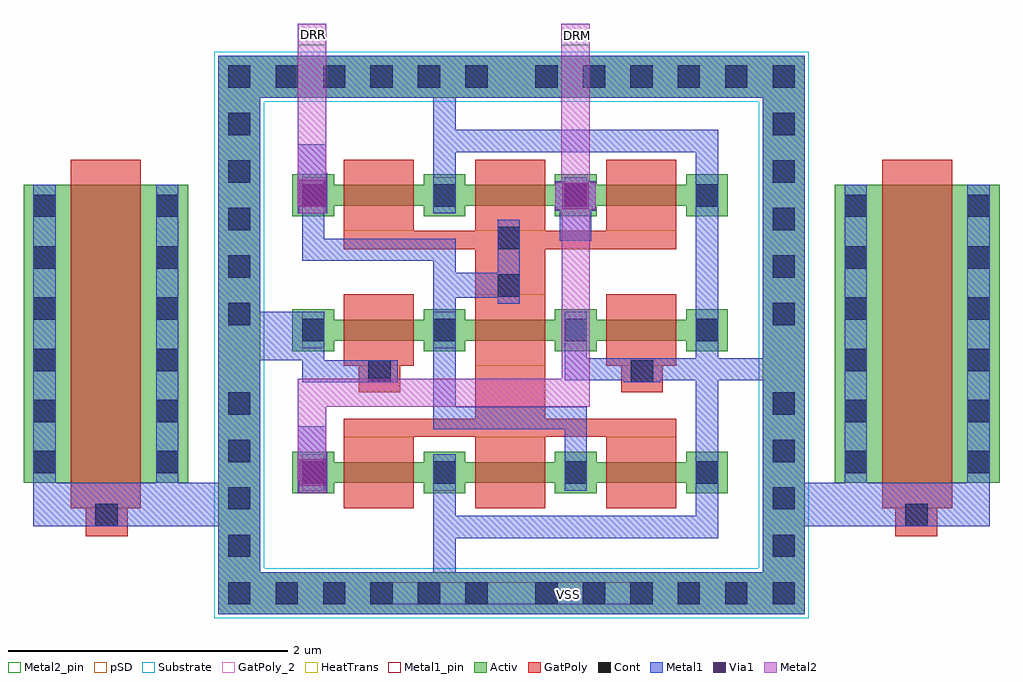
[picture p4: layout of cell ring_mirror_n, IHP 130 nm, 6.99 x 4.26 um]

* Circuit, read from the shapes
.subckt ring_mirror_n DRM DRR VSS
XM1 VSS VSS VSS VSS sg13_lv_nmos w=2.135u l=0.5u m=2
XM2 VSS DRR DRM VSS sg13_lv_nmos w=0.15u l=0.5u m=3
XM3 DRR VSS VSS VSS sg13_lv_nmos w=0.15u l=0.5u
XM4 VSS DRR DRR VSS sg13_lv_nmos w=0.15u l=0.5u m=4
XM5 VSS VSS VSS VSS sg13_lv_nmos w=0.15u l=0.5u
.ends

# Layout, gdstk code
from math import pi, radians
import gdstk
lib = gdstk.Library(unit=1e-6, precision=1e-09)
def R(c, l, rs):  # rectangles x0, y0, x1, y1
    for r in rs: c.add(gdstk.rectangle(r[:2], r[2:], *l))
def A(c, l, x, y, w, h, nx, ny, dx, dy):  # array of equal rectangles
    R(c, l, [(x+i*dx, y+j*dy, x+i*dx+w, y+j*dy+h) for i in range(nx) for j in range(ny)])
def P(c, l, *ps):  # polygons
    for p in ps: c.add(gdstk.Polygon(p, *l))
Activ = (1, 0)
GatPoly = (5, 0)
GatPoly_2 = (5, 2)
Cont = (6, 0)
Metal1 = (8, 0)
Metal1_pin = (8, 2)
Metal2 = (10, 0)
Metal2_pin = (10, 2)
pSD = (14, 0)
Via1 = (19, 0)
Substrate = (40, 0)
HeatTrans = (51, 0)

nmos = lib.new_cell('nmos')
A(nmos, Activ, 0, 0, 0.3, 0.3, 4, 1, 0.94, 0)
R(nmos, Activ, [(0,0.075,3.12,0.225)])
A(nmos, GatPoly, 0.37, -0.105, 0.5, 0.51, 3, 1, 0.94, 0)
R(nmos, GatPoly_2, [(0.37,-0.105,0.87,0.405)])
A(nmos, Cont, 0.07, 0.07, 0.16, 0.16, 4, 1, 0.94, 0)
A(nmos, Metal1, 0.07, 0.02, 0.16, 0.26, 4, 1, 0.94, 0)
R(nmos, Metal1_pin, [(0.07,0.02,0.23,0.28), (1.01,0.02,1.17,0.28)])
A(nmos, HeatTrans, 0.37, -0.105, 0.5, 0.51, 3, 1, 0.94, 0)
nmos.add(gdstk.Label('nmos', (0.62,0.15), layer=63, texttype=0))
nmos.add(gdstk.Label('nmos', (0.62,0.15), layer=51, texttype=0))
nmos.add(gdstk.Label('nmos', (1.56,0.15), layer=51, texttype=0))
nmos.add(gdstk.Label('nmos', (2.5,0.15), layer=51, texttype=0))

via_stack_9 = lib.new_cell('via_stack$9')
R(via_stack_9, GatPoly, [(-0.15,-0.15,0.15,0.15)])
R(via_stack_9, Cont, [(-0.08,-0.08,0.08,0.08)])
R(via_stack_9, Metal1, [(-0.13,-0.08,0.13,0.08)])

via_stack_4 = lib.new_cell('via_stack$4')
R(via_stack_4, Metal1, [(-0.145,-0.105,0.145,0.105)])
R(via_stack_4, Metal2, [(-0.145,-0.1,0.145,0.1)])
R(via_stack_4, Via1, [(-0.095,-0.095,0.095,0.095)])

guard_ring_2 = lib.new_cell('guard_ring$2')
R(guard_ring_2, Activ, [(-2.1,-1.7,-1.8,1.7), (1.8,-1.7,2.1,1.7), (-2.1,1.7,2.1,2)])
P(guard_ring_2, Activ, [(-2.1,-2),(-2.1,1.7),(-1.8,1.7),(-1.8,-1.7),(1.8,-1.7),(1.8,1.7),(-2.1,1.7),(-2.1,2),(2.1,2),(2.1,-2)])
A(guard_ring_2, Cont, -2.03, -1.93, 0.16, 0.16, 6, 2, 0.34, 3.7)
A(guard_ring_2, Cont, 0.17, -1.93, 0.16, 0.16, 6, 2, 0.34, 3.7)
A(guard_ring_2, Cont, -2.03, -1.59, 0.16, 0.16, 1, 4, 0, 0.34)
A(guard_ring_2, Cont, 1.87, -1.59, 0.16, 0.16, 1, 4, 0, 0.34)
A(guard_ring_2, Cont, -2.03, 0.07, 0.16, 0.16, 1, 5, 0, 0.34)
A(guard_ring_2, Cont, 1.87, 0.07, 0.16, 0.16, 1, 5, 0, 0.34)
R(guard_ring_2, Metal1, [(-2.1,-2,2.1,-1.7), (-2.1,-1.7,-1.8,1.7), (1.8,-1.7,2.1,1.7), (-2.1,1.7,2.1,2)])
R(guard_ring_2, pSD, [(-2.13,-1.67,-1.77,1.67), (1.77,-1.67,2.13,1.67), (-2.13,1.67,2.13,2.03)])
P(guard_ring_2, pSD, [(-2.13,-2.03),(-2.13,1.67),(-1.77,1.67),(-1.77,-1.67),(1.77,-1.67),(1.77,1.67),(-2.13,1.67),(-2.13,2.03),(2.13,2.03),(2.13,-2.03)])
R(guard_ring_2, Substrate, [(-2.13,-1.67,-1.77,1.67), (1.77,-1.67,2.13,1.67), (-2.13,1.67,2.13,2.03)])
P(guard_ring_2, Substrate, [(-2.13,-2.03),(-2.13,1.67),(-1.77,1.67),(-1.77,-1.67),(1.77,-1.67),(1.77,1.67),(-2.13,1.67),(-2.13,2.03),(2.13,2.03),(2.13,-2.03)])
guard_ring_2.add(gdstk.Label('sub!', (0,-1.85), layer=63, texttype=0))

via_stack_10 = lib.new_cell('via_stack$10')
R(via_stack_10, GatPoly, [(-0.15,-0.32,0.15,0.32)])
R(via_stack_10, Cont, [(-0.08,-0.25,0.08,-0.09), (-0.08,0.09,0.08,0.25)])
R(via_stack_10, Metal1, [(-0.08,-0.3,0.08,0.3)])

nmos_2 = lib.new_cell('nmos$2')
R(nmos_2, Activ, [(0,0,0.3,0.3), (0,0,1.18,2.135), (0.88,0,1.18,0.3)])
R(nmos_2, GatPoly, [(0.34,-0.18,0.84,2.315)])
R(nmos_2, GatPoly_2, [(0.34,-0.18,0.84,2.315)])
A(nmos_2, Cont, 0.07, 0.07, 0.16, 0.16, 1, 3, 0, 0.365)
A(nmos_2, Cont, 0.95, 0.07, 0.16, 0.16, 1, 3, 0, 0.365)
R(nmos_2, Cont, [(0.07,1.17,0.23,1.33), (0.95,1.17,1.11,1.33), (0.07,1.535,0.23,1.695), (0.95,1.535,1.11,1.695), (0.07,1.905,0.23,2.065), (0.95,1.905,1.11,2.065)])
R(nmos_2, Metal1, [(0.07,0,0.23,2.135), (0.95,0,1.11,2.135)])
R(nmos_2, Metal1_pin, [(0.07,0,0.23,2.135), (0.95,0,1.11,2.135)])
R(nmos_2, HeatTrans, [(0.34,-0.18,0.84,2.315)])
nmos_2.add(gdstk.Label('nmos', (0.59,1.068), layer=63, texttype=0))
nmos_2.add(gdstk.Label('nmos', (0.59,1.068), layer=51, texttype=0))

ring_mirror_n = lib.new_cell('ring_mirror_n')
R(ring_mirror_n, GatPoly, [(-0.37,-1.16,2.01,-1.03), (0.57,-1.03,1.07,0.185), (-0.37,0.185,2.01,0.315)])
R(ring_mirror_n, Metal1, [(0.27,-2.43,0.43,-1.305), (0.27,-1.885,2.31,-1.725), (-2.595,-1.8,-0.97,-1.49), (2.63,-1.8,4.255,-1.49), (2.15,-1.725,2.31,-1.305), (-0.7,-1.545,-0.495,-1.085), (1.21,-1.525,1.37,-1.105), (2.15,-1.305,2.31,0.49), (0.27,-1.105,1.37,-0.945), (0.27,-0.945,0.43,0.1), (-0.67,-0.77,0.015,-0.61), (1.21,-0.755,2.93,-0.595), (-1.04,-0.61,-0.67,-0.265), (-0.67,-0.61,-0.51,-0.495), (1.21,-0.61,1.37,-0.495), (0.43,-0.165,0.89,0.015), (-0.67,0.1,0.43,0.26), (1.175,0.245,1.4,0.67), (-0.67,0.26,-0.51,0.44), (0.27,0.46,0.43,1.57), (2.15,0.46,2.31,0.88), (-0.7,0.475,-0.495,0.935), (0.27,0.88,2.31,1.04)])
R(ring_mirror_n, Metal1_pin, [(-0.18,-2.36,1.84,-2.2)])
R(ring_mirror_n, Metal2, [(-0.7,-1.475,-0.495,-0.945), (-0.7,-0.945,1.39,-0.745), (1.19,-0.78,1.39,0.66), (1.185,0.445,1.39,1.8), (-0.7,0.495,-0.495,1.8)])
R(ring_mirror_n, Metal2_pin, [(-0.7,1.645,-0.495,1.8), (1.185,1.645,1.39,1.8)])
ring_mirror_n.add(gdstk.Reference(nmos, (-0.74,0.42)))
ring_mirror_n.add(gdstk.Reference(nmos, (-0.74,-1.265), x_reflection=True))
ring_mirror_n.add(gdstk.Reference(nmos, (-0.74,-0.545)))
ring_mirror_n.add(gdstk.Reference(via_stack_9, (1.765,-0.69)))
ring_mirror_n.add(gdstk.Reference(via_stack_9, (-0.115,-0.69)))
ring_mirror_n.add(gdstk.Reference(via_stack_4, (1.29,0.565)))
ring_mirror_n.add(gdstk.Reference(guard_ring_2, (0.83,-0.43)))
ring_mirror_n.add(gdstk.Reference(via_stack_4, (-0.595,-1.415), rotation=3*pi/2))
ring_mirror_n.add(gdstk.Reference(via_stack_10, (0.81,0.095)))
ring_mirror_n.add(gdstk.Reference(nmos_2, (3.145,-1.49)))
ring_mirror_n.add(gdstk.Reference(via_stack_9, (3.73,-1.72)))
ring_mirror_n.add(gdstk.Reference(nmos_2, (-1.485,-1.49), rotation=pi, x_reflection=True))
ring_mirror_n.add(gdstk.Reference(via_stack_9, (-2.07,-1.72), rotation=pi, x_reflection=True))
ring_mirror_n.add(gdstk.Reference(via_stack_4, (-0.595,0.585), rotation=3*pi/2))
ring_mirror_n.add(gdstk.Label('VSS', (1.235,-2.29), layer=8, texttype=2))
ring_mirror_n.add(gdstk.Label('DRM', (1.3,1.715), layer=10, texttype=2))
ring_mirror_n.add(gdstk.Label('DRR', (-0.585,1.72), layer=10, texttype=2))

lib.write_gds('ring_mirror_n.gds')
